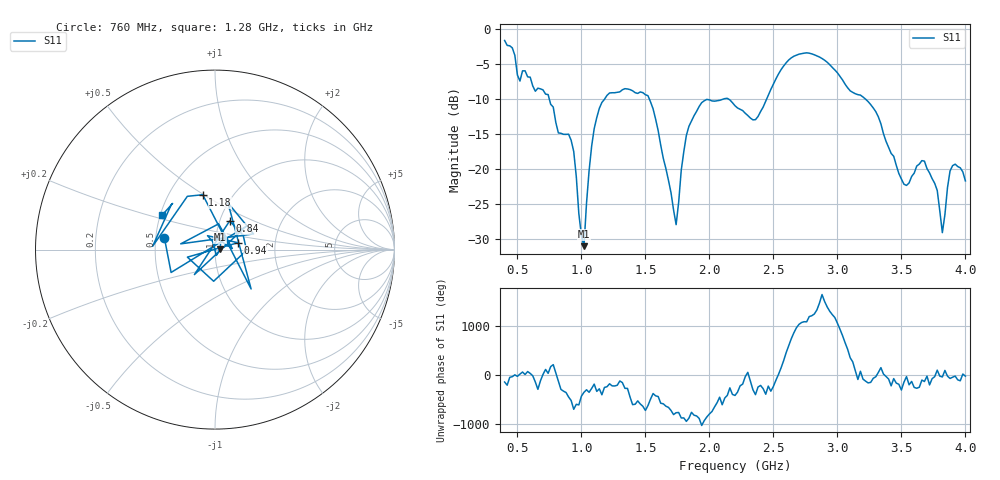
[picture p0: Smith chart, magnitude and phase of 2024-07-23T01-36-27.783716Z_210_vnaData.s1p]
!Created with skrf (http://scikit-rf.org).
# Hz S RI R 50.0
!freq ReS11 ImS11
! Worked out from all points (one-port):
!   181 points, 400 MHz to 4 GHz, reference 50 ohm
!   lowest |S11| = -31.1 dB at 1.02 GHz (marker M1), VSWR 1.06, Z = 52.9 + j0.174 ohm
!   |S11| at or under -10 dB: 748.6 MHz to 1.183 GHz (434.3 MHz wide, 45 % of centre); 1.53 GHz to 2.117 GHz (586.6 MHz wide, 32.2 % of centre); 3.217 GHz to end of sweep (the widest 3 of 4)
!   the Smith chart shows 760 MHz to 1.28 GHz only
!   S11 on the Smith chart (normalised r, x): 760 MHz: 0.56, +0.08; 840 MHz: 1.11, +0.37; 940 MHz: 1.29, +0.10; 1.18 GHz: 0.73, +0.50; 1.28 GHz: 0.51, +0.22
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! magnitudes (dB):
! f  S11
! 400 MHz  -1.7
! 520 MHz  -7.5
! 760 MHz  -10.8
! 840 MHz  -14.9
! 860 MHz  -15.1
! 940 MHz  -17.5
! 1.02 GHz  -31.1
! 1.08 GHz  -16.8
! 1.18 GHz  -10.1
! 1.28 GHz  -9.1
! 1.3 GHz  -9.0
! 1.52 GHz  -9.6
! 1.74 GHz  -28.0
! 1.76 GHz  -24.8
! 1.82 GHz  -15.2
! 1.92 GHz  -11.1
! 2.2 GHz  -11.0
! 2.36 GHz  -13.0
! 2.66 GHz  -3.9
! 2.88 GHz  -4.3
! 3.1 GHz  -8.9
! 3.3 GHz  -11.8
! 3.56 GHz  -22.0
! 3.68 GHz  -18.9
! 3.78 GHz  -23.1
! 3.82 GHz  -29.1
! 3.88 GHz  -20.3
! 4 GHz  -21.7
